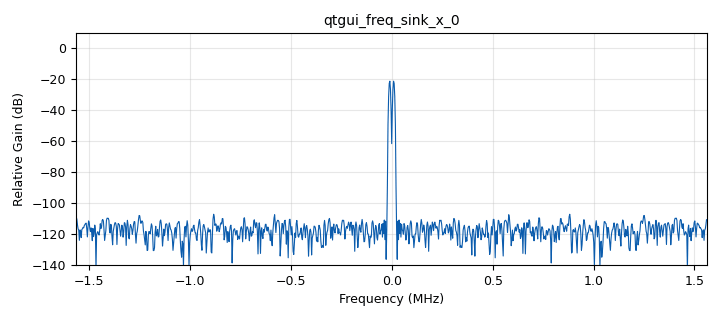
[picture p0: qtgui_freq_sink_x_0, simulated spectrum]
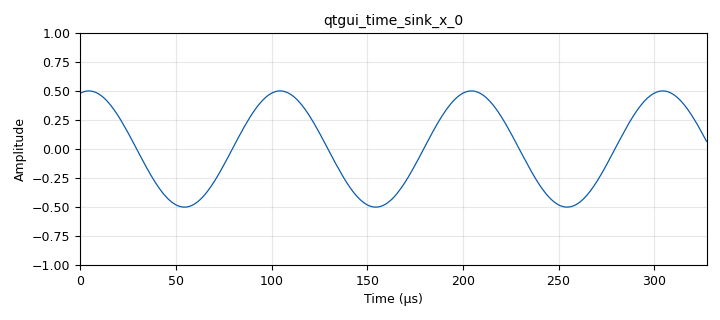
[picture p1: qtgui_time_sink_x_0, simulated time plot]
options:
  parameters:
    generate_options: qt_gui
    id: Prueba_2
    output_language: python
    title: Not titled yet
  states: {}

blocks:
- name: A
  id: variable_qtgui_range
  parameters:
    label: Amplitud de señal
    start: '0'
    step: '1e-2'
    stop: '500e-3'
    value: '500e-3'
  states: {}
- name: GTX
  id: variable_qtgui_range
  parameters:
    label: Ganancia...Transmisor
    start: '0'
    step: '500e-3'
    stop: '30'
    value: '500e-3'
  states: {}
- name: 'No'
  id: variable_qtgui_range
  parameters:
    label: Amplitud ruido
    start: '0'
    step: '1e-6'
    stop: '1e-1'
    value: '1e-4'
  states: {}
- name: fc
  id: variable_qtgui_range
  parameters:
    label: Frecuencia portadora
    start: 50e6
    step: 1e5
    stop: 1e9
    value: 200e6
  states: {}
- name: fcut
  id: variable_qtgui_range
  parameters:
    start: '0'
    step: '100'
    stop: samp_rate/2
    value: samp_rate/2
  states: {}
- name: fm
  id: variable_qtgui_range
  parameters:
    label: Frecuencia señal
    start: '1000'
    step: '1000'
    stop: '1000000'
    value: '10000'
  states: {}
- name: samp_rate
  id: variable
  parameters:
    value: int(25e6/8)
  states: {}
- name: t_band
  id: variable_qtgui_range
  parameters:
    label: Banda de transición
    start: '0'
    step: '100'
    stop: samp_rate/200
    value: samp_rate/200
  states: {}
- name: analog_noise_source_x_0
  id: analog_noise_source_x
  parameters:
    amp: 'No'
    noise_type: analog.GR_GAUSSIAN
    seed: '0'
    type: float
  states: {}
- name: analog_sig_source_x_0
  id: analog_sig_source_x
  parameters:
    amp: A
    freq: fm
    offset: '0'
    phase: '0'
    samp_rate: samp_rate
    type: float
    waveform: analog.GR_COS_WAVE
  states: {}
- name: blocks_add_xx_0
  id: blocks_add_xx
  parameters:
    type: float
  states: {}
- name: blocks_float_to_complex_0
  id: blocks_float_to_complex
  parameters: {}
  states: {}
- name: blocks_throttle2_0
  id: blocks_throttle2
  parameters:
    samples_per_second: samp_rate
    type: float
  states: {}
- name: blocks_wavfile_source_0
  id: blocks_wavfile_source
  parameters:
    file: /home/labcomu/Practica_2_Canal/despecha_rosalia (1).wav
    repeat: 'True'
  states: {state: disabled}
- name: low_pass_filter_0
  id: low_pass_filter
  parameters:
    cutoff_freq: fcut
    decim: '1'
    gain: '1'
    samp_rate: samp_rate
    type: fir_filter_fff
    width: t_band
    win: window.WIN_HAMMING
  states: {}
- name: qtgui_freq_sink_x_0
  id: qtgui_freq_sink_x
  parameters:
    bw: samp_rate
    fc: '0'
    fftsize: '1024'
    type: float
  states: {}
- name: qtgui_time_sink_x_0
  id: qtgui_time_sink_x
  parameters:
    size: '1024'
    srate: samp_rate
    type: float
  states: {}
- name: rational_resampler_xxx_0
  id: rational_resampler_xxx
  parameters:
    decim: '441000'
    interp: samp_rate
    type: fff
  states: {state: disabled}
- name: uhd_usrp_sink_0
  id: uhd_usrp_sink
  parameters:
    ant0: '"TX/RX"'
    center_freq0: fc
    gain0: GTX
    samp_rate: samp_rate
    sync: pc_clock
    type: fc32
  states: {}

connections:
- [analog_noise_source_x_0, '0', blocks_add_xx_0, '1']
- [analog_sig_source_x_0, '0', blocks_throttle2_0, '0']
- [blocks_add_xx_0, '0', low_pass_filter_0, '0']
- [blocks_float_to_complex_0, '0', uhd_usrp_sink_0, '0']
- [blocks_throttle2_0, '0', blocks_add_xx_0, '0']
- [blocks_wavfile_source_0, '0', rational_resampler_xxx_0, '0']
- [low_pass_filter_0, '0', blocks_float_to_complex_0, '0']
- [low_pass_filter_0, '0', qtgui_freq_sink_x_0, '0']
- [low_pass_filter_0, '0', qtgui_time_sink_x_0, '0']
- [rational_resampler_xxx_0, '0', blocks_throttle2_0, '0']

metadata:
  file_format: 1
  grc_version: v3.11.0.0git-810-g1ecb8565
